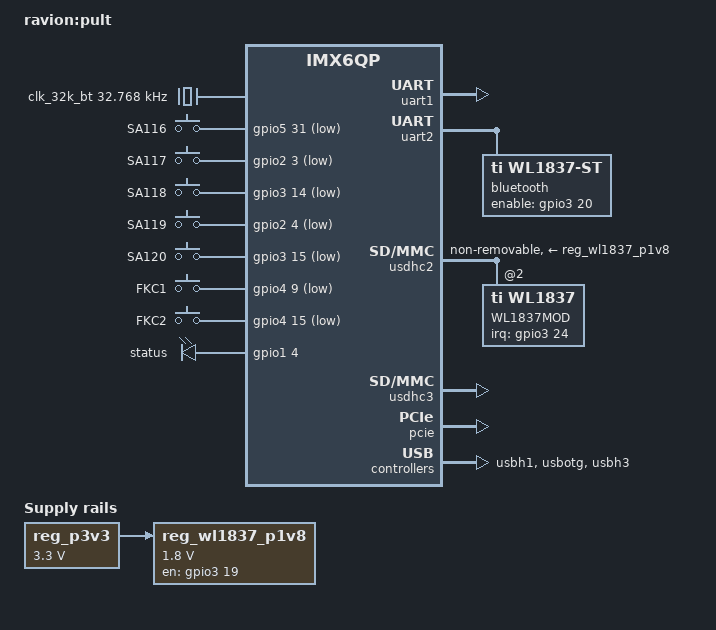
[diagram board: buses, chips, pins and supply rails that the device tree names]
/*
 * Copyright 2026 Radioavionica Corp.
 *
 * This program is free software; you can redistribute it and/or modify
 * it under the terms of the GNU General Public License version 2 as
 * published by the Free Software Foundation.
 *
 */

/dts-v1/;
#include "imx6qp.dtsi"

#include "imx6qdl-ravion-v2.dtsi"


/ {
	model = "ravion:pult";
	compatible = "ravion,imx6qp", "fsl,imx6qp";

	/*
	 * Device cpecifiv clock generators
	 */
	clk_32k_bt: bt_clk {
		compatible = "fixed-clock";
		#clock-cells = <0>;
		clock-frequency = <32768>;
		clock-accuracy = <100>;
	};

	/*
	 * Device specific regulators
	 */
	reg_p3v3: regulator-p3v3 {
			compatible = "regulator-fixed";
			regulator-name = "P3V3";
			regulator-min-microvolt = <3300000>;
			regulator-max-microvolt = <3300000>;
			regulator-boot-on;
			regulator-always-on;
	};

	reg_wl1837_p1v8: regulator-wl1837-p1v8 {
			compatible = "regulator-fixed";
			regulator-name = "wl1837-reg";
			regulator-min-microvolt = <1800000>;
			regulator-max-microvolt = <1800000>;
			vin-supply = <&reg_p3v3>;
			gpio = <&gpio3 19 GPIO_ACTIVE_HIGH>;
			startup-delay-us = <70000>;
			enable-active-high;
	};

	gpio-keys {
		compatible = "gpio-keys";

		SA116 {
			label = "SA116";
			gpios = <&gpio5 31 GPIO_ACTIVE_LOW>;	/* soDimm 116 */
			linux,code = <KEY_F12>;
			debounce-interval = <100>;
			wakeup-source;
		};

		SA117 {
			label = "SA117";
			gpios = <&gpio2 3 GPIO_ACTIVE_LOW>;	/* soDimm 117 */
			linux,code = <KEY_F13>;
			debounce-interval = <100>;
			wakeup-source;
		};

		SA118 {
			label = "SA118";
			gpios = <&gpio3 14 GPIO_ACTIVE_LOW>;	/* soDimm 118 */
			linux,code = <KEY_F14>;
			debounce-interval = <100>;
			wakeup-source;
		};

		SA119 {
			label = "SA119";
			gpios = <&gpio2 4 GPIO_ACTIVE_LOW>;	/* soDimm 119 */
			linux,code = <KEY_F15>;
			debounce-interval = <100>;
			wakeup-source;
		};

		SA120 {
			label = "SA120";
			gpios = <&gpio3 15 GPIO_ACTIVE_LOW>;	/* soDimm 120 */
			linux,code = <KEY_F16>;
			debounce-interval = <100>;
			wakeup-source;
		};

		FKC1 {
			label = "FKC1";
			gpios = <&gpio4 9 GPIO_ACTIVE_LOW>;	/* soDimm152 */
			linux,code = <KEY_F3>;
			debounce-interval = <100>;
			wakeup-source;
		};

		FKC2 {
			label = "FKC2";
			gpios = <&gpio4 15 GPIO_ACTIVE_LOW>;	/* soDimm158 */
			linux,code = <KEY_F9>;
			debounce-interval = <100>;
			wakeup-source;
		};
	};

	gpio-leds {
		compatible = "gpio-leds";

		status_red {
			label = "status";
			gpios = <&gpio1 4 GPIO_ACTIVE_HIGH>;	/* soDimm188 */
			default-state = "off";
		};
	};

	display-subsystem {
		status = "disabled";
	};

	capture-subsystem {
		status = "disabled";
	};
};

/*
 * Serial ports
 */
&uart1 {	status = "okay";	};	/* Console  - Allways enabled */
&uart2 {
	uart-has-rtscts;
	status = "okay";

	bluetooth {
		enable-gpios = <&gpio3 20 GPIO_ACTIVE_HIGH>;	/* soDimm 027 */
		compatible = "ti,wl1837-st";
		clocks = <&clk_32k_bt 0>;
		clock-names = "ext_clock";
		max-speed = <3686400>;
		current-speed = <115200>;
		status = "okay";
	};
};
&uart3	{	status = "disabled";	};

/*
 * Controller Area Network (CAN) Bus
 */
&can1	{	status = "disabled";	};

/*
 * I2C Busses
 */
&i2c1 {
    /* we not need embeeded sound in this device */
    /delete-node/ sgtl5000;
};
&i2c2	{	status = "disabled";	};	/* Compatible I2C: soDimm 194, 196 */
&i2c3	{	status = "disabled";	};	/* Extended I2C: soDimm 128, 130 */

&mipi_csi {	status = "disabled";	};

/*
 * SD/MMC and eMMC controllers
 */
&usdhc1 {	status = "disabled";	}; /* compatible */
&usdhc2 {				   /* externed - WiFi module */
	keep-power-in-suspend;
	cap-power-off-card;
	non-removable;
	max-frequency = <25000000>;
	status = "okay";
	vmmc-supply = <&reg_wl1837_p1v8>;
	#address-cells = <1>;
	#size-cells = <0>;

	WL1837MOD: wlcore@2 {
		compatible = "ti,wl1837";
		reg = <2>;
		interrupt-parent = <&gpio3>;
		interrupts = <24 IRQ_TYPE_LEVEL_HIGH>;	/* soDim023 */
		tcxo-clock-frequency = <26000000>;
	};
};
&usdhc3 {	status = "okay";	}; /* eMMC allways enabled */

&pcie	{	status = "okay";	}; /* FixMe: Debug only */
&fec	{	status = "disabled";	};
&gpu_vg	{	status = "disabled";	};
&gpu_2d	{	status = "disabled";	};
&gpu_3d	{	status = "disabled";	};
&vpu	{	status = "disabled";	};
&ipu1	{	status = "disabled";	};
&ipu2	{	status = "disabled";	};



/*
 * Audio (digital part) no audio in this project, disable all
 */
&audmux	{	status = "disabled";	}; /* => always enabled */
&ssi1	{	status = "disabled";	}; /* => always enabled */
&ssi2 	{	status = "disabled";	}; /* for external codec */

&usbh1  {	status = "okay";	}; /* HOST => Allways enabled */
&usbotg	{	status = "okay";	}; /* OTG */
&usbh3	{	status = "okay";	   /* HSIC */
		#address-cells = <1>;
		#size-cells = <0>; };
/*
 * PWMs
 */
&pwm3	{	status = "disabled";	};
&pwm4	{	status = "disabled";	};

&iomuxc {
	pinctrl-names = "default";
	pinctrl-0 = <&pinctrl_hog>, <&pinctrl_uart1gpio>;
};
